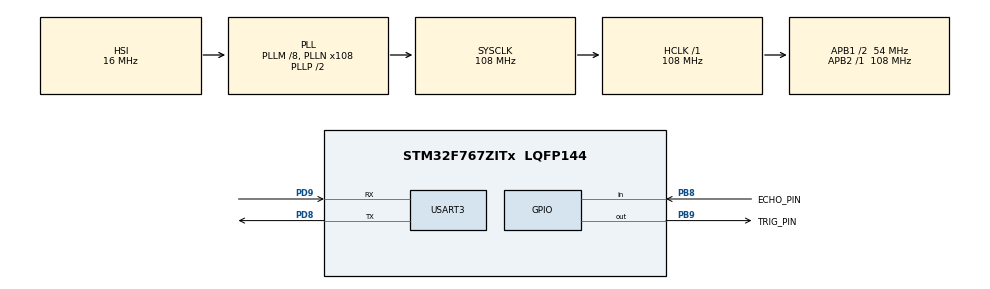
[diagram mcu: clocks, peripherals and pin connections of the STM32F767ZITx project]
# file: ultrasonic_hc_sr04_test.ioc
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CORTEX_M7.default_mode_Activation=1
Mcu.Family=STM32F7
Mcu.Name=STM32F767ZITx
Mcu.Package=LQFP144
NVIC.PriorityGroup=NVIC_PRIORITYGROUP_4
PB8.GPIO_Label=ECHO_PIN
PB8.Signal=GPIO_Input
PB9.GPIO_Label=TRIG_PIN
PB9.Signal=GPIO_Output
PD8.Mode=Asynchronous
PD8.Signal=USART3_TX
PD9.Mode=Asynchronous
PD9.Signal=USART3_RX
PH0/OSC_IN.Mode=HSE-External-Oscillator
PH0/OSC_IN.Signal=RCC_OSC_IN
PH1/OSC_OUT.Mode=HSE-External-Oscillator
PH1/OSC_OUT.Signal=RCC_OSC_OUT
ProjectManager.HeapSize=0x200
ProjectManager.StackSize=0x400
ProjectManager.TargetToolchain=STM32CubeIDE
RCC.48MHZClocksFreq_Value=24000000
RCC.AHBFreq_Value=108000000
RCC.APB1CLKDivider=RCC_HCLK_DIV2
RCC.APB1Freq_Value=54000000
RCC.APB1TimFreq_Value=108000000
RCC.APB2Freq_Value=108000000
RCC.APB2TimFreq_Value=108000000
RCC.CortexFreq_Value=108000000
RCC.HCLKFreq_Value=108000000
RCC.HSE_VALUE=16000000
RCC.HSI_VALUE=16000000
RCC.LSE_VALUE=32768
RCC.PLLM=8
RCC.PLLMUL=RCC_PLL_MUL9
RCC.PLLN=108
RCC.PRESCALERUSB=RCC_USBCLKSOURCE_PLL_DIV1_5
RCC.SYSCLKFreq_VALUE=108000000
RCC.SYSCLKSource=RCC_SYSCLKSOURCE_PLLCLK
RCC.SYSCLKSourceVirtual=RCC_SYSCLKSOURCE_PLLCLK
RCC.USBFreq_Value=108000000
RCC.VCOOutputFreq_Value=216000000
TIM2.Prescaler=107
USART3.VirtualMode-Asynchronous=VM_ASYNC
VP_TIM2_VS_ClockSourceINT.Mode=Internal
board=NUCLEO-F767ZI

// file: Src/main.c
/* USER CODE BEGIN Header */
/**
  ******************************************************************************
  * @file           : main.c
  * @brief          : Main program body
  ******************************************************************************
  * @attention
  *
  * Copyright (c) 2026 STMicroelectronics.
  * All rights reserved.
  *
  * This software is licensed under terms that can be found in the LICENSE file
  * in the root directory of this software component.
  * If no LICENSE file comes with this software, it is provided AS-IS.
  *
  ******************************************************************************
  */
/* USER CODE END Header */
#include "main.h"

TIM_HandleTypeDef htim2;

UART_HandleTypeDef huart3;

/* USER CODE BEGIN PV */
char uart_buf[128];
uint16_t uart_buf_len;

/* USER CODE END PV */

void SystemClock_Config(void);
static void MPU_Config(void);
static void MX_GPIO_Init(void);
static void MX_TIM2_Init(void);
static void MX_USART3_UART_Init(void);

/* USER CODE BEGIN 0 */

void delay_us(uint32_t us) {
    __HAL_TIM_SET_COUNTER(&htim2, 0);
    while (__HAL_TIM_GET_COUNTER(&htim2) < us);
}

float HCSR04_Read_Distance(void) {
    uint32_t echo_time = 0;
    uint32_t timeout = 0;

    // 1. Send 10us HIGH trigger pulse on PB9
    HAL_GPIO_WritePin(GPIOB, GPIO_PIN_9, GPIO_PIN_RESET);
    delay_us(2);
    HAL_GPIO_WritePin(GPIOB, GPIO_PIN_9, GPIO_PIN_SET);
    delay_us(10);
    HAL_GPIO_WritePin(GPIOB, GPIO_PIN_9, GPIO_PIN_RESET);

    // 2. Wait for ECHO pin (PB8) to go HIGH
    timeout = 0;
    while (HAL_GPIO_ReadPin(GPIOB, GPIO_PIN_8) == GPIO_PIN_RESET) {
        if (++timeout > 50000) return -1.0f; // Timeout error
        delay_us(1);
    }

    // 3. Reset counter and measure how long ECHO pin stays HIGH
    __HAL_TIM_SET_COUNTER(&htim2, 0);
    while (HAL_GPIO_ReadPin(GPIOB, GPIO_PIN_8) == GPIO_PIN_SET) {
        if (__HAL_TIM_GET_COUNTER(&htim2) > 30000) break; // Timeout (~5 meters limit)
    }

    echo_time = __HAL_TIM_GET_COUNTER(&htim2);

    // 4. Calculate distance in centimeters
    // Speed of sound = 0.0343 cm/us -> Distance = (time * 0.0343) / 2
    float distance_cm = (float)echo_time * 0.01715f;

    return distance_cm;
}

/* USER CODE END 0 */

int main(void)
{

  /* MPU Configuration--------------------------------------------------------*/
  MPU_Config();

  /* MCU Configuration--------------------------------------------------------*/

  /* Reset of all peripherals, Initializes the Flash interface and the Systick. */
  HAL_Init();

  /* Configure the system clock */
  SystemClock_Config();

  /* Initialize all configured peripherals */
  MX_GPIO_Init();
  MX_TIM2_Init();
  MX_USART3_UART_Init();
  /* USER CODE BEGIN 2 */
  HAL_TIM_Base_Start(&htim2);

  uart_buf_len = sprintf(uart_buf, "\r\n=== HC-SR04 Distance Sensor Demo ===\r\n");
  HAL_UART_Transmit(&huart3, (uint8_t *)uart_buf, uart_buf_len, 100);

  /* USER CODE END 2 */

  /* Infinite loop */
  while (1)
  {

    /* USER CODE BEGIN 3 */
    float distance = HCSR04_Read_Distance();

    if (distance >= 0.0f) {
        // Convert float to int + decimals for clean printing without float sprintf flag
        uint32_t dist_int = (uint32_t)distance;
        uint32_t dist_dec = (uint32_t)((distance - dist_int) * 100);

        uart_buf_len = sprintf(uart_buf, "Distance: %lu.%02lu cm\r\n", dist_int, dist_dec);
    } else {
        uart_buf_len = sprintf(uart_buf, "HC-SR04 Sensor Timeout!\r\n");
    }

    HAL_UART_Transmit(&huart3, (uint8_t *)uart_buf, uart_buf_len, 100);

    HAL_Delay(100); // 10 readings per second
  }
  /* USER CODE END 3 */
}

void SystemClock_Config(void)
{
  RCC_OscInitTypeDef RCC_OscInitStruct = {0};
  RCC_ClkInitTypeDef RCC_ClkInitStruct = {0};

  /** Configure the main internal regulator output voltage
  */
  __HAL_RCC_PWR_CLK_ENABLE();
  __HAL_PWR_VOLTAGESCALING_CONFIG(PWR_REGULATOR_VOLTAGE_SCALE3);

  /** Initializes the RCC Oscillators according to the specified parameters
  * in the RCC_OscInitTypeDef structure.
  */
  RCC_OscInitStruct.OscillatorType = RCC_OSCILLATORTYPE_HSI;
  RCC_OscInitStruct.HSIState = RCC_HSI_ON;
  RCC_OscInitStruct.HSICalibrationValue = RCC_HSICALIBRATION_DEFAULT;
  RCC_OscInitStruct.PLL.PLLState = RCC_PLL_ON;
  RCC_OscInitStruct.PLL.PLLSource = RCC_PLLSOURCE_HSI;
  RCC_OscInitStruct.PLL.PLLM = 8;
  RCC_OscInitStruct.PLL.PLLN = 108;
  RCC_OscInitStruct.PLL.PLLP = RCC_PLLP_DIV2;
  RCC_OscInitStruct.PLL.PLLQ = 2;
  RCC_OscInitStruct.PLL.PLLR = 2;
  if (HAL_RCC_OscConfig(&RCC_OscInitStruct) != HAL_OK)
  {
    Error_Handler();
  }

  /** Activate the Over-Drive mode
  */
  if (HAL_PWREx_EnableOverDrive() != HAL_OK)
  {
    Error_Handler();
  }

  /** Initializes the CPU, AHB and APB buses clocks
  */
  RCC_ClkInitStruct.ClockType = RCC_CLOCKTYPE_HCLK|RCC_CLOCKTYPE_SYSCLK
                              |RCC_CLOCKTYPE_PCLK1|RCC_CLOCKTYPE_PCLK2;
  RCC_ClkInitStruct.SYSCLKSource = RCC_SYSCLKSOURCE_PLLCLK;
  RCC_ClkInitStruct.AHBCLKDivider = RCC_SYSCLK_DIV1;
  RCC_ClkInitStruct.APB1CLKDivider = RCC_HCLK_DIV2;
  RCC_ClkInitStruct.APB2CLKDivider = RCC_HCLK_DIV1;

  if (HAL_RCC_ClockConfig(&RCC_ClkInitStruct, FLASH_LATENCY_3) != HAL_OK)
  {
    Error_Handler();
  }
}

static void MX_TIM2_Init(void)
{

  TIM_ClockConfigTypeDef sClockSourceConfig = {0};
  TIM_MasterConfigTypeDef sMasterConfig = {0};

  htim2.Instance = TIM2;
  htim2.Init.Prescaler = 107;
  htim2.Init.CounterMode = TIM_COUNTERMODE_UP;
  htim2.Init.Period = 4294967295;
  htim2.Init.ClockDivision = TIM_CLOCKDIVISION_DIV1;
  htim2.Init.AutoReloadPreload = TIM_AUTORELOAD_PRELOAD_DISABLE;
  if (HAL_TIM_Base_Init(&htim2) != HAL_OK)
  {
    Error_Handler();
  }
  sClockSourceConfig.ClockSource = TIM_CLOCKSOURCE_INTERNAL;
  if (HAL_TIM_ConfigClockSource(&htim2, &sClockSourceConfig) != HAL_OK)
  {
    Error_Handler();
  }
  sMasterConfig.MasterOutputTrigger = TIM_TRGO_RESET;
  sMasterConfig.MasterSlaveMode = TIM_MASTERSLAVEMODE_DISABLE;
  if (HAL_TIMEx_MasterConfigSynchronization(&htim2, &sMasterConfig) != HAL_OK)
  {
    Error_Handler();
  }

}

static void MX_USART3_UART_Init(void)
{

  huart3.Instance = USART3;
  huart3.Init.BaudRate = 115200;
  huart3.Init.WordLength = UART_WORDLENGTH_8B;
  huart3.Init.StopBits = UART_STOPBITS_1;
  huart3.Init.Parity = UART_PARITY_NONE;
  huart3.Init.Mode = UART_MODE_TX_RX;
  huart3.Init.HwFlowCtl = UART_HWCONTROL_NONE;
  huart3.Init.OverSampling = UART_OVERSAMPLING_16;
  huart3.Init.OneBitSampling = UART_ONE_BIT_SAMPLE_DISABLE;
  huart3.AdvancedInit.AdvFeatureInit = UART_ADVFEATURE_NO_INIT;
  if (HAL_UART_Init(&huart3) != HAL_OK)
  {
    Error_Handler();
  }

}

static void MX_GPIO_Init(void)
{
  GPIO_InitTypeDef GPIO_InitStruct = {0};

  /* GPIO Ports Clock Enable */
  __HAL_RCC_GPIOH_CLK_ENABLE();
  __HAL_RCC_GPIOD_CLK_ENABLE();
  __HAL_RCC_GPIOB_CLK_ENABLE();

  /*Configure GPIO pin Output Level */
  HAL_GPIO_WritePin(TRIG_PIN_GPIO_Port, TRIG_PIN_Pin, GPIO_PIN_RESET);

  /*Configure GPIO pin : ECHO_PIN_Pin */
  GPIO_InitStruct.Pin = ECHO_PIN_Pin;
  GPIO_InitStruct.Mode = GPIO_MODE_INPUT;
  GPIO_InitStruct.Pull = GPIO_NOPULL;
  HAL_GPIO_Init(ECHO_PIN_GPIO_Port, &GPIO_InitStruct);

  /*Configure GPIO pin : TRIG_PIN_Pin */
  GPIO_InitStruct.Pin = TRIG_PIN_Pin;
  GPIO_InitStruct.Mode = GPIO_MODE_OUTPUT_PP;
  GPIO_InitStruct.Pull = GPIO_NOPULL;
  GPIO_InitStruct.Speed = GPIO_SPEED_FREQ_LOW;
  HAL_GPIO_Init(TRIG_PIN_GPIO_Port, &GPIO_InitStruct);

}

 /* MPU Configuration */

void MPU_Config(void)
{
  MPU_Region_InitTypeDef MPU_InitStruct = {0};

  /* Disables the MPU */
  HAL_MPU_Disable();

  /** Initializes and configures the Region and the memory to be protected
  */
  MPU_InitStruct.Enable = MPU_REGION_ENABLE;
  MPU_InitStruct.Number = MPU_REGION_NUMBER0;
  MPU_InitStruct.BaseAddress = 0x0;
  MPU_InitStruct.Size = MPU_REGION_SIZE_4GB;
  MPU_InitStruct.SubRegionDisable = 0x87;
  MPU_InitStruct.TypeExtField = MPU_TEX_LEVEL0;
  MPU_InitStruct.AccessPermission = MPU_REGION_NO_ACCESS;
  MPU_InitStruct.DisableExec = MPU_INSTRUCTION_ACCESS_DISABLE;
  MPU_InitStruct.IsShareable = MPU_ACCESS_SHAREABLE;
  MPU_InitStruct.IsCacheable = MPU_ACCESS_NOT_CACHEABLE;
  MPU_InitStruct.IsBufferable = MPU_ACCESS_NOT_BUFFERABLE;

  HAL_MPU_ConfigRegion(&MPU_InitStruct);
  /* Enables the MPU */
  HAL_MPU_Enable(MPU_PRIVILEGED_DEFAULT);

}

void Error_Handler(void)
{
  __disable_irq();
  while (1)
  {
  }
}
